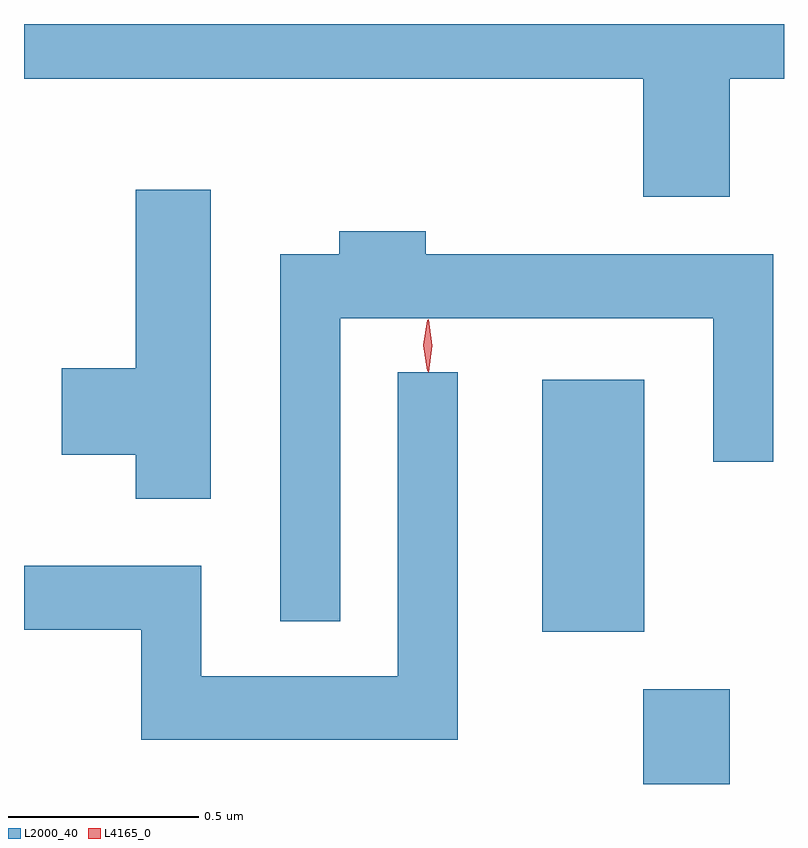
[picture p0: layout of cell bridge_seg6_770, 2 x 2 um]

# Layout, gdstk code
import gdstk
lib = gdstk.Library(unit=1e-6, precision=1e-09)
def R(c, l, rs):  # rectangles x0, y0, x1, y1
    for r in rs: c.add(gdstk.rectangle(r[:2], r[2:], *l))
def P(c, l, *ps):  # polygons
    for p in ps: c.add(gdstk.Polygon(p, *l))
L2000_40 = (2000, 40)
L4165_0 = (4165, 0)

bridge_seg6_770 = lib.new_cell('bridge_seg6_770')
R(bridge_seg6_770, L2000_40, [(550.741,1590.36,550.969,1590.609), (550.476,1590.761,550.744,1591.424)])
P(bridge_seg6_770, L2000_40, [(550.969,1592.216),(551.112,1592.216),(551.112,1592.36),(549.112,1592.36),(549.112,1592.216),(550.741,1592.216),(550.741,1591.906),(550.969,1591.906)],
  [(549.604,1591.924),(549.406,1591.924),(549.406,1591.454),(549.211,1591.454),(549.211,1591.226),(549.406,1591.226),(549.406,1591.111),(549.604,1591.111)],
  [(549.944,1591.586),(550.926,1591.586),(550.926,1591.208),(551.084,1591.208),(551.084,1591.754),(550.169,1591.754),(550.169,1591.814),(549.941,1591.814),(549.941,1591.754),(549.786,1591.754),(549.786,1590.788),(549.944,1590.788)],
  [(550.254,1591.443),(550.096,1591.443),(550.096,1590.644),(549.579,1590.644),(549.579,1590.934),(549.112,1590.934),(549.112,1590.766),(549.421,1590.766),(549.421,1590.476),(550.254,1590.476)])
P(bridge_seg6_770, L4165_0, [(550.173,1591.447),(550.163,1591.514),(550.173,1591.58),(550.173,1591.58),(550.174,1591.58),(550.183,1591.514),(550.174,1591.447),(550.174,1591.447)],
  [(550.176,1591.444),(550.176,1591.444),(550.166,1591.513),(550.176,1591.582),(550.176,1591.583),(550.177,1591.582),(550.186,1591.513),(550.177,1591.444)])

lib.write_gds('bridge_seg6_770.gds')
